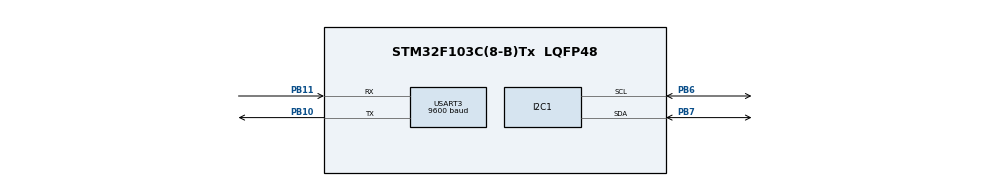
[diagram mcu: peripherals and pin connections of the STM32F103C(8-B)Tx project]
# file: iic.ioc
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Dma.I2C1_RX.0.Direction=DMA_PERIPH_TO_MEMORY
Dma.I2C1_RX.0.Instance=DMA1_Channel7
Dma.I2C1_RX.0.MemDataAlignment=DMA_MDATAALIGN_BYTE
Dma.I2C1_RX.0.MemInc=DMA_MINC_ENABLE
Dma.I2C1_RX.0.Mode=DMA_NORMAL
Dma.I2C1_RX.0.PeriphDataAlignment=DMA_PDATAALIGN_BYTE
Dma.I2C1_RX.0.PeriphInc=DMA_PINC_DISABLE
Dma.I2C1_RX.0.Priority=DMA_PRIORITY_LOW
Dma.I2C1_TX.1.Direction=DMA_MEMORY_TO_PERIPH
Dma.I2C1_TX.1.Instance=DMA1_Channel6
Dma.I2C1_TX.1.MemDataAlignment=DMA_MDATAALIGN_BYTE
Dma.I2C1_TX.1.MemInc=DMA_MINC_ENABLE
Dma.I2C1_TX.1.Mode=DMA_NORMAL
Dma.I2C1_TX.1.PeriphDataAlignment=DMA_PDATAALIGN_BYTE
Dma.I2C1_TX.1.PeriphInc=DMA_PINC_DISABLE
Dma.I2C1_TX.1.Priority=DMA_PRIORITY_LOW
Dma.Request0=I2C1_RX
Dma.Request1=I2C1_TX
Mcu.Family=STM32F1
Mcu.Name=STM32F103C(8-B)Tx
Mcu.Package=LQFP48
NVIC.DMA1_Channel6_IRQn=true\:0\:0\:false\:false\:true\:false\:true\:true
NVIC.DMA1_Channel7_IRQn=true\:0\:0\:false\:false\:true\:false\:true\:true
NVIC.I2C1_ER_IRQn=true\:0\:0\:false\:false\:true\:true\:true\:true
NVIC.I2C1_EV_IRQn=true\:0\:0\:false\:false\:true\:true\:true\:true
NVIC.PriorityGroup=NVIC_PRIORITYGROUP_4
NVIC.USART3_IRQn=true\:0\:0\:false\:false\:true\:true\:true\:true
PA13.Mode=Serial_Wire
PA13.Signal=SYS_JTMS-SWDIO
PA14.Mode=Serial_Wire
PA14.Signal=SYS_JTCK-SWCLK
PB10.Mode=Asynchronous
PB10.Signal=USART3_TX
PB11.Mode=Asynchronous
PB11.Signal=USART3_RX
PB6.Mode=I2C
PB6.Signal=I2C1_SCL
PB7.Mode=I2C
PB7.Signal=I2C1_SDA
ProjectManager.HeapSize=0x200
ProjectManager.StackSize=0x400
ProjectManager.TargetToolchain=STM32CubeIDE
RCC.APB1Freq_Value=8000000
RCC.APB2Freq_Value=8000000
USART3.BaudRate=9600
USART3.VirtualMode=VM_ASYNC
board=custom

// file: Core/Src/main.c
/* USER CODE BEGIN Header */
/**
  ******************************************************************************
  * @file           : main.c
  * @brief          : Main program body
  ******************************************************************************
  * @attention
  *
  * Copyright (c) 2026 STMicroelectronics.
  * All rights reserved.
  *
  * This software is licensed under terms that can be found in the LICENSE file
  * in the root directory of this software component.
  * If no LICENSE file comes with this software, it is provided AS-IS.
  *
  ******************************************************************************
  */
/* USER CODE END Header */
#include "main.h"
#include "dma.h"
#include "i2c.h"
#include "usart.h"
#include "gpio.h"

/* USER CODE BEGIN Includes */
#include "aht20.h"
#include <stdio.h>
#include <string.h>
/* USER CODE END Includes */

/* USER CODE BEGIN PV */
uint8_t aht20_state = 0;
//0:初始状态，发送测量命令 1:正在发送测量命令 2:测量命令发送完成，等待75ms后读取AHT20数据 3:读取中  4:读取完成，解析数据与输出
/* USER CODE END PV */

void SystemClock_Config(void);

int main(void)
{

  /* MCU Configuration--------------------------------------------------------*/

  /* Reset of all peripherals, Initializes the Flash interface and the Systick. */
  HAL_Init();

  /* Configure the system clock */
  SystemClock_Config();

  /* Initialize all configured peripherals */
  MX_GPIO_Init();
  MX_DMA_Init();
  MX_I2C1_Init();
  MX_USART3_UART_Init();
  /* USER CODE BEGIN 2 */
  AHT20_Init();
  float Temperature,Humidity;
  char message[50];
  /* USER CODE END 2 */

  /* Infinite loop */
  /* USER CODE BEGIN WHILE */
  while (1)
  {
//	  AHT20_Read(&Temperature, &Humidity);
//	  sprintf(message,"温度：%.1f ℃ 湿度：%.1f %%\n",Temperature,Humidity);
//	  HAL_UART_Transmit(&huart3, (uint8_t*)message, strlen(message), HAL_MAX_DELAY);
//	  HAL_Delay(1000);
	  switch(aht20_state)
	  {
	  	  case 0:
	  		  AHT20_Meature();
	  		  break;
	  	  case 1:

	  		  break;
	  	  case 2:
	  		  HAL_Delay(75);
	  		  AHT20_Get();
	  		  aht20_state = 3;
	  		  break;
	  	  case 3:
	  	  case 4:
	  		  AHT20_Analysis(&Temperature, &Humidity);
	  		  sprintf(message,"温度：%.1f ℃ 湿度：%.1f %%\n",Temperature,Humidity);
	  		  HAL_UART_Transmit(&huart3, (uint8_t*)message, strlen(message), HAL_MAX_DELAY);
	  		  HAL_Delay(1000);
	  		  aht20_state = 0;
	  }
    /* USER CODE END WHILE */

  }
}

void SystemClock_Config(void)
{
  RCC_OscInitTypeDef RCC_OscInitStruct = {0};
  RCC_ClkInitTypeDef RCC_ClkInitStruct = {0};

  /** Initializes the RCC Oscillators according to the specified parameters
  * in the RCC_OscInitTypeDef structure.
  */
  RCC_OscInitStruct.OscillatorType = RCC_OSCILLATORTYPE_HSI;
  RCC_OscInitStruct.HSIState = RCC_HSI_ON;
  RCC_OscInitStruct.HSICalibrationValue = RCC_HSICALIBRATION_DEFAULT;
  RCC_OscInitStruct.PLL.PLLState = RCC_PLL_NONE;
  if (HAL_RCC_OscConfig(&RCC_OscInitStruct) != HAL_OK)
  {
    Error_Handler();
  }

  /** Initializes the CPU, AHB and APB buses clocks
  */
  RCC_ClkInitStruct.ClockType = RCC_CLOCKTYPE_HCLK|RCC_CLOCKTYPE_SYSCLK
                              |RCC_CLOCKTYPE_PCLK1|RCC_CLOCKTYPE_PCLK2;
  RCC_ClkInitStruct.SYSCLKSource = RCC_SYSCLKSOURCE_HSI;
  RCC_ClkInitStruct.AHBCLKDivider = RCC_SYSCLK_DIV1;
  RCC_ClkInitStruct.APB1CLKDivider = RCC_HCLK_DIV1;
  RCC_ClkInitStruct.APB2CLKDivider = RCC_HCLK_DIV1;

  if (HAL_RCC_ClockConfig(&RCC_ClkInitStruct, FLASH_LATENCY_0) != HAL_OK)
  {
    Error_Handler();
  }
}

void Error_Handler(void)
{
  __disable_irq();
  while (1)
  {
  }
}
